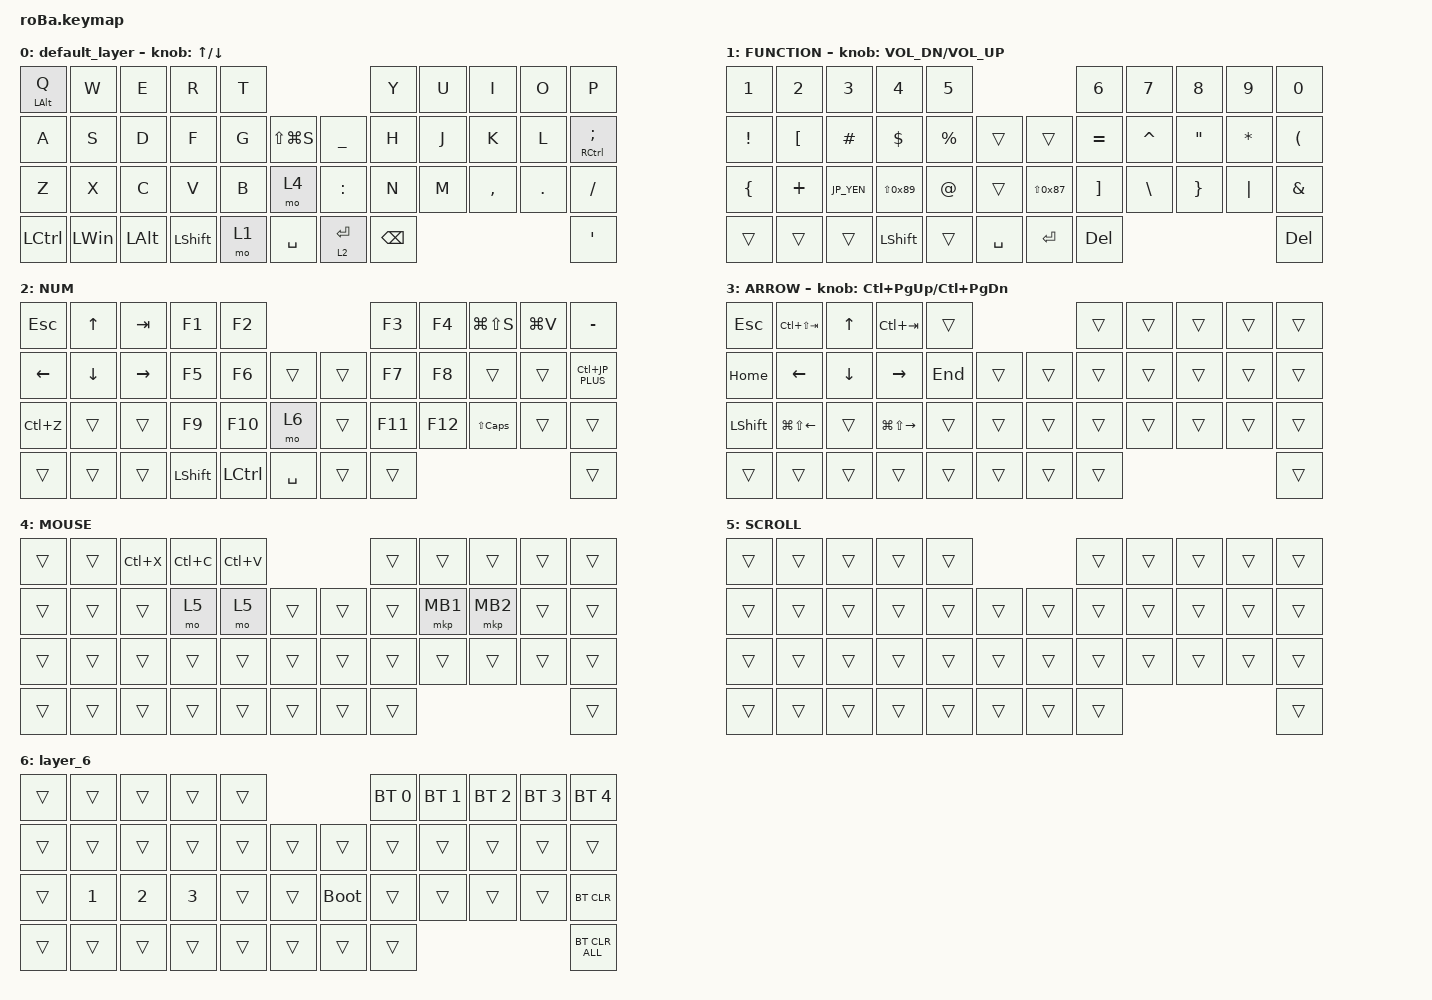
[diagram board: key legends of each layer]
#include <behaviors.dtsi>
#include <dt-bindings/zmk/bt.h>
#include <dt-bindings/zmk/keys.h>
#include <dt-bindings/zmk/pointing.h>

// OS設定を日本語キーボードのまま使用するための変換定義
#define JP_DQUOTE       AT                // "
#define JP_AMPERSAND    CARET             // &
#define JP_QUOTE        AMPERSAND         // '
#define JP_EQUAL        UNDER             // =
#define JP_CARET        EQUAL             // ^
#define JP_YEN          0x89              // ¥ (バックスラッシュ)
#define JP_PLUS         COLON             // +
#define JP_TILDE        PLUS              // ~
#define JP_PIPE         LS(0x89)          // |
#define JP_AT           LEFT_BRACKET      // @
#define JP_COLON        SINGLE_QUOTE      // :
#define JP_ASTERISK     DOUBLE_QUOTES     // *
#define JP_BACKQUOTE    LEFT_BRACE        // `
#define JP_UNDERSCORE   LS(0x87)          // _
#define JP_LBRACKET     RIGHT_BRACKET     // [
#define JP_RBRACKET     BACKSLASH         // ]
#define JP_LPAREN       ASTERISK          // (
#define JP_RPAREN       LEFT_PARENTHESIS  // )
#define JP_LBRACE       RIGHT_BRACE       // {
#define JP_RBRACE       PIPE              // }
#define JP_KANA         LANGUAGE_1        // かな
#define JP_EISU         LANGUAGE_2        // 英数
#define JP_HANZEN       GRAVE             // 半角/全角

&mt {
    flavor = "balanced";
    quick-tap-ms = <150>;
    tapping-term-ms = <150>;
};

&lt {
    flavor = "balanced";
    quick-tap-ms = <150>;
    tapping-term-ms = <150>;
};

&trackball {
    scroll-layers = <5>;

    // arrows {
    //     layers = <3>;
    //     bindings =
    //         <&kp RIGHT_ARROW>,
    //         <&kp LEFT_ARROW>,
    //         <&kp UP_ARROW>,
    //         <&kp DOWN_ARROW>;
    //     tick = <10>;
    //     wait-ms = <5>;
    //     tap-ms = <5>;
    // };
};

/ {
    combos {
        compatible = "zmk,combos";
/*
        tab {
            bindings = <&kp TAB>;
            key-positions = <11 12>;
        };

        shift_tab {
            bindings = <&kp LS(TAB)>;
            key-positions = <12 13>;
        };

        muhennkann {
            bindings = <&to_layer_0 INT_MUHENKAN>;
            key-positions = <11 10>;
        };

        double_quotation {
            bindings = <&kp JP_DQUOTE>;
            key-positions = <20 21>;
        };

        eq {
            bindings = <&kp JP_EQUAL>;
            key-positions = <24 25>;
        };
*/
    };

    macros {
        to_layer_0: to_layer_0 {
            compatible = "zmk,behavior-macro-one-param";
            #binding-cells = <1>;
            bindings = <&to 0 &macro_param_1to1 &kp MACRO_PLACEHOLDER>;
            label = "TO_LAYER_0";
        };
    };

    keymap {
        compatible = "zmk,keymap";

        default_layer {
            bindings = <
&mt LEFT_ALT Q  &kp W         &kp E         &kp R           &kp T                                 &kp Y          &kp U  &kp I    &kp O    &kp P
&kp A           &kp S         &kp D         &kp F           &kp G  &kp LS(LG(S))      &kp JP_EQUAL   &kp H          &kp J  &kp K      &kp L    &mt RCTRL SEMICOLON
&kp Z           &kp X         &kp C         &kp V           &kp B  &mo 4              &kp JP_PLUS  &kp N          &kp M  &kp COMMA  &kp DOT  &kp SLASH
&kp LCTRL       &kp LEFT_WIN  &kp LEFT_ALT  &kp LEFT_SHIFT  &mo 1  &kp SPACE          &lt 2 ENTER &kp BACKSPACE                             &kp JP_COLON
            >;

            sensor-bindings = <&inc_dec_kp UP_ARROW DOWN_ARROW>;
        };

        FUNCTION {
            bindings = <
&kp NUMBER_1     &kp NUMBER_2  &kp NUMBER_3     &kp NUMBER_4  &kp N5                               &kp NUMBER_6     &kp N7           &kp N8           &kp N9          &kp N0
&kp EXCLAMATION  &kp JP_AT     &kp HASH         &kp DOLLAR    &kp PERCENT   &trans    &trans       &kp JP_CARET     &kp JP_AMPERSAND &kp JP_ASTERISK  &kp JP_LPAREN   &kp JP_RPAREN
&kp JP_BACKQUOTE &kp JP_TILDE  &kp JP_YEN       &kp JP_PIPE   &kp JP_DQUOTE &trans    &kp JP_UNDERSCORE     &kp JP_LBRACKET     &kp JP_RBRACKET      &kp JP_LBRACE  &kp JP_RBRACE &kp JP_QUOTE
&trans           &trans        &trans           &kp LEFT_SHIFT &trans       &kp SPACE   &kp ENTER  &kp DELETE                                                         &kp DELETE
            >;

            sensor-bindings = <&inc_dec_kp C_VOL_DN C_VOL_UP>;
        };

        NUM {
            bindings = <
&kp ESCAPE      &kp UP_ARROW    &kp TAB           &kp F1          &kp F2                            &kp F3   &kp F4   &kp LG(LS(S))     &kp LG(V)  &kp MINUS
&kp LEFT_ARROW  &kp DOWN_ARROW  &kp RIGHT_ARROW  &kp F5          &kp F6     &trans         &trans  &kp F7   &kp F8   &trans            &trans     &kp LC(JP_PLUS)
&kp LC(Z)       &trans          &trans           &kp F9          &kp F10    &mo 6          &trans  &kp F11  &kp F12  &kp LS(CAPSLOCK)  &trans     &trans
&trans          &trans          &trans           &kp LEFT_SHIFT  &kp LCTRL  &kp SPACE      &trans  &trans                                         &trans
            >;
        };

        ARROW {
            bindings = <
&kp ESCAPE      &kp LC(LS(TAB))         &kp UP_ARROW    &kp LC(TAB)              &trans                       &trans  &trans  &trans  &trans  &trans
&kp HOME        &kp LEFT_ARROW          &kp DOWN_ARROW  &kp RIGHT_ARROW          &kp END  &trans      &trans  &trans  &trans  &trans  &trans  &trans
&kp LEFT_SHIFT  &kp LG(LS(LEFT_ARROW))  &trans          &kp LG(LS(RIGHT_ARROW))  &trans   &trans      &trans  &trans  &trans  &trans  &trans  &trans
&trans          &trans                  &trans          &trans                   &trans   &trans      &trans  &trans                          &trans
            >;

            sensor-bindings = <&inc_dec_kp LC(PAGE_UP) LC(PAGE_DOWN)>;
        };

        MOUSE {
            bindings = <
&trans  &trans  &kp LC(X)  &kp LC(C)  &kp LC(V)                      &trans  &trans    &trans    &trans  &trans
&trans  &trans  &trans     &mo 5      &mo 5      &trans      &trans  &trans  &mkp MB1  &mkp MB2  &trans  &trans
&trans  &trans  &trans     &trans     &trans     &trans      &trans  &trans  &trans    &trans    &trans  &trans
&trans  &trans  &trans     &trans     &trans     &trans      &trans  &trans                              &trans
            >;
        };

        SCROLL {
            bindings = <
&trans  &trans  &trans  &trans  &trans                      &trans  &trans  &trans  &trans  &trans
&trans  &trans  &trans  &trans  &trans  &trans      &trans  &trans  &trans  &trans  &trans  &trans
&trans  &trans  &trans  &trans  &trans  &trans      &trans  &trans  &trans  &trans  &trans  &trans
&trans  &trans  &trans  &trans  &trans  &trans      &trans  &trans                          &trans
            >;
        };

        layer_6 {
            bindings = <
&trans  &trans        &trans        &trans        &trans                           &bt BT_SEL 0  &bt BT_SEL 1  &bt BT_SEL 2  &bt BT_SEL 3  &bt BT_SEL 4
&trans  &trans        &trans        &trans        &trans  &trans      &trans       &trans        &trans        &trans        &trans        &trans
&trans  &kp NUMBER_1  &kp NUMBER_2  &kp NUMBER_3  &trans  &trans      &bootloader  &trans        &trans        &trans        &trans        &bt BT_CLR
&trans  &trans        &trans        &trans        &trans  &trans      &trans       &trans                                                  &bt BT_CLR_ALL
            >;
        };
    };
};
